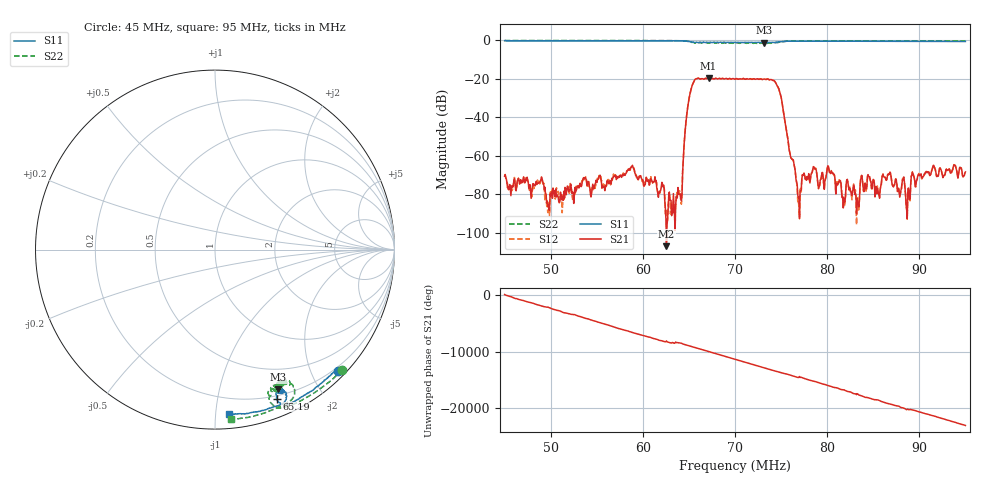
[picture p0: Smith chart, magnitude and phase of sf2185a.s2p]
# Hz S RI R 50
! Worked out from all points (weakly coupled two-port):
!   801 points, 45 MHz to 95 MHz, reference 50 ohm
!   highest |S21| = -19.73 dB at 67.12 MHz (marker M1); lowest = -106.8 dB at 62.56 MHz (marker M2)
!   lowest |S11| = -1.4 dB at 73.12 MHz (marker M3), VSWR 12.75, Z = 13.2 - j75.9 ohm
!   |S11| at or under -10 dB: nowhere
!   |S22| runs from -1.8 to -0.2 dB; largest |S21 - S12| = 0.0011
!   S11 on the Smith chart (normalised r, x): 45 MHz: 0.14, -2.43; 65.19 MHz: 0.17, -1.48; 95 MHz: 0.09, -1.09
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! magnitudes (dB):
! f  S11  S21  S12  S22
! 45 MHz  -0.4  -70.5  -70.0  -0.2
! 49.62 MHz  -0.4  -83.4  -86.5  -0.2
! 53.38 MHz  -0.4  -75.3  -73.0  -0.2
! 55.81 MHz  -0.4  -76.2  -75.4  -0.3
! 58.81 MHz  -0.4  -65.3  -65.5  -0.3
! 61.69 MHz  -0.4  -81.4  -80.2  -0.3
! 62.56 MHz  -0.4  -106.8  -88.3  -0.3
! 64.06 MHz  -0.4  -79.6  -80.5  -0.3
! 64.75 MHz  -0.5  -39.2  -39.2  -0.5
! 65.19 MHz  -0.9  -26.4  -26.4  -1.1
! 67.12 MHz  -1.3  -19.7  -19.7  -1.6
! 70 MHz  -1.2  -20.2  -20.2  -1.5
! 73.12 MHz  -1.4  -20.2  -20.2  -1.8
! 74.81 MHz  -0.9  -26.2  -26.2  -1.1
! 76.94 MHz  -0.6  -81.2  -87.0  -0.5
! 78.38 MHz  -0.6  -68.4  -68.7  -0.5
! 80.25 MHz  -0.6  -68.5  -68.3  -0.5
! 83.25 MHz  -0.6  -82.1  -82.3  -0.4
! 86.69 MHz  -0.6  -69.7  -69.4  -0.4
! 88.75 MHz  -0.6  -78.6  -81.0  -0.4
! 91.5 MHz  -0.7  -65.0  -65.1  -0.4
! 95 MHz  -0.7  -68.3  -69.1  -0.4
